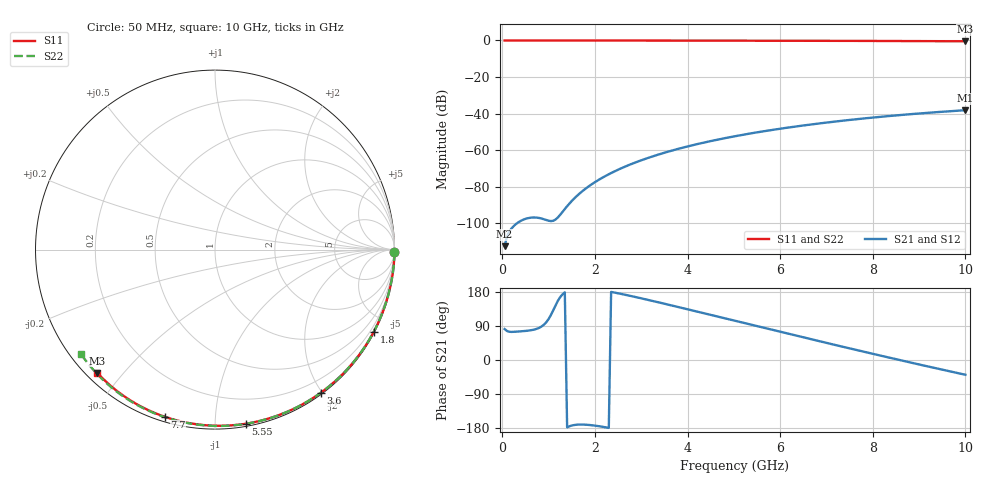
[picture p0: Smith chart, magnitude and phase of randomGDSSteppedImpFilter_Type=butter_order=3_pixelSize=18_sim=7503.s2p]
! freq	dB(S11)	phase(S11)	dB(S12)	phase(S12)
!  dB(S21)	phase(S21)	dB(S22)	phase(S22)
!S-par simulation data
#  GHz  S  DB  R 50
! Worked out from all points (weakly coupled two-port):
!   200 points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, 50 MHz to 10 GHz, reference 50 ohm
!   highest |S21| = -38.17 dB at 10 GHz (marker M1); lowest = -112.6 dB at 50 MHz (marker M2)
!   lowest |S11| = -0.4 dB at 10 GHz (marker M3), VSWR 38.66, Z = 1.53 - j21.4 ohm
!   |S11| at or under -10 dB: nowhere
!   |S22| runs from -0.5 to 0.0 dB; largest |S21 - S12| = 0
!   S11 on the Smith chart (normalised r, x): 50 MHz: open; 1.8 GHz: 0.04, -4.11; 3.6 GHz: 0.02, -1.98; 5.55 GHz: 0.02, -1.19; 7.7 GHz: 0.02, -0.74; 10 GHz: 0.03, -0.43
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0.05  -0.00 -0.8  -112.59 81.7  -112.59 81.7  -0.00 -0.8
0.45  -0.01 -6.9  -98.12 76.1  -98.12 76.1  -0.01 -7.4
0.9  -0.02 -13.8  -97.85 93.3  -97.85 93.3  -0.02 -14.7
1.75  -0.03 -26.6  -82.06 -170.4  -82.06 -170.4  -0.04 -28.2
1.8  -0.03 -27.4  -81.07 -170.7  -81.07 -170.7  -0.04 -29.0
1.85  -0.04 -28.1  -80.13 -171.2  -80.13 -171.2  -0.04 -29.8
2.05  -0.04 -31.1  -76.76 -174.0  -76.76 -174.0  -0.04 -32.9
2.2  -0.04 -33.3  -74.57 -176.9  -74.57 -176.9  -0.04 -35.3
2.55  -0.05 -38.4  -70.16 174.8  -70.16 174.8  -0.05 -40.7
2.95  -0.06 -44.2  -66.05 164.2  -66.05 164.2  -0.06 -46.9
3.4  -0.07 -50.7  -62.22 151.4  -62.22 151.4  -0.07 -53.7
3.6  -0.07 -53.5  -60.72 145.6  -60.72 145.6  -0.08 -56.7
3.9  -0.08 -57.7  -58.65 136.8  -58.65 136.8  -0.08 -61.1
4.3  -0.09 -63.2  -56.20 125.0  -56.20 125.0  -0.09 -66.9
5.05  -0.11 -73.3  -52.29 102.6  -52.29 102.6  -0.12 -77.6
5.55  -0.13 -79.9  -50.09 87.7  -50.09 87.7  -0.14 -84.5
6.1  -0.15 -87.0  -47.94 71.5  -47.94 71.5  -0.16 -92.0
6.7  -0.18 -94.5  -45.88 53.9  -45.88 53.9  -0.19 -99.9
7.7  -0.24 -106.7  -42.96 24.9  -42.96 24.9  -0.26 -112.9
8.35  -0.29 -114.4  -41.37 6.4  -41.37 6.4  -0.31 -121.1
9.2  -0.37 -124.4  -39.58 -17.3  -39.58 -17.3  -0.39 -131.8
10  -0.45 -133.6  -38.17 -38.9  -38.17 -38.9  -0.48 -141.9
